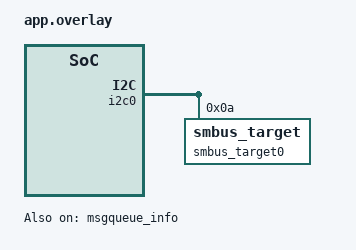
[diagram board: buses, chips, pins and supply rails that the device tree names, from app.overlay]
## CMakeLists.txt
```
# SPDX-License-Identifier: Apache-2.0

cmake_minimum_required(VERSION 3.20.0)
find_package(Zephyr REQUIRED HINTS $ENV{ZEPHYR_BASE})
project(bh_arc)

FILE(GLOB app_sources src/*.c)
target_sources(app PRIVATE ${app_sources})
target_link_libraries(app PRIVATE bh_fwtable)
target_include_directories(app PRIVATE ../../../../include)
target_include_directories(app PRIVATE ../../../../lib/tenstorrent/bh_arc)
target_include_directories(app PRIVATE ../../../../soc/tenstorrent/tt_blackhole/include)

# ───── Paths to inputs and tools ─────────────────────────────────────────
if(DEFINED ZEPHYR_TT_SYSTEM_FIRMWARE_MODULE_DIR)
    set(TTSF_ROOT "${ZEPHYR_TT_SYSTEM_FIRMWARE_MODULE_DIR}")
else()
    set(TTSF_ROOT "${ZEPHYR_BASE}/../tt-system-firmware")
endif()
set(PROTO_DIR     "${TTSF_ROOT}/drivers/misc/bh_fwtable/spirom_protobufs")
set(TXT_DIR       "${TTSF_ROOT}/boards/tenstorrent/tt_blackhole/spirom_data_tables/P150B")
set(ENC_SCRIPT    "${TTSF_ROOT}/scripts/encode_spirom_bins.py")
set(MKFS_SCRIPT   "${TTSF_ROOT}/scripts/tt_boot_fs.py")
set(FLASH_SPEC    "${CMAKE_CURRENT_SOURCE_DIR}/flash_spec.yaml")

set(PROTO_PY_DIR  "${CMAKE_BINARY_DIR}/zephyr/python_proto_files")
set(BIN_DIR       "${CMAKE_BINARY_DIR}/smc/generated_board_cfg/P150B")
set(FLASH_BIN     "${CMAKE_BINARY_DIR}/flash.bin")

# Need protoc on PATH (apt: protobuf-compiler) for the .proto → *_pb2.py step.
find_program(PROTOC_EXE protoc)
if(NOT PROTOC_EXE)
    message(FATAL_ERROR
        "protoc not found. Install with 'sudo apt install protobuf-compiler'. "
        "It is required to generate flash.bin for these tests.")
endif()

if(PROTOC_EXE)
    # ───── Step 1: .proto → *_pb2.py (protoc) ────────────────────────────
    set(PB_PY_FILES
        "${PROTO_PY_DIR}/read_only_pb2.py"
        "${PROTO_PY_DIR}/fw_table_pb2.py"
        "${PROTO_PY_DIR}/flash_info_pb2.py"
    )
    add_custom_command(
        OUTPUT  ${PB_PY_FILES}
        COMMAND ${CMAKE_COMMAND} -E make_directory "${PROTO_PY_DIR}"
        COMMAND ${PROTOC_EXE}
                --experimental_allow_proto3_optional
                --python_out=${PROTO_PY_DIR}
                -I ${PROTO_DIR}
                ${PROTO_DIR}/read_only.proto
                ${PROTO_DIR}/fw_table.proto
                ${PROTO_DIR}/flash_info.proto
        DEPENDS ${PROTO_DIR}/read_only.proto
                ${PROTO_DIR}/fw_table.proto
                ${PROTO_DIR}/flash_info.proto
        COMMENT "Generating Python protobuf modules from .proto schemas"
        VERBATIM
    )

    # ───── Step 2: .txt + *_pb2.py → *.bin (encode_spirom_bins.py) ───────
    set(PB_BIN_FILES
        "${BIN_DIR}/read_only.bin"
        "${BIN_DIR}/fw_table.bin"
        "${BIN_DIR}/flash_info.bin"
    )
    add_custom_command(
        OUTPUT  ${PB_BIN_FILES}
        COMMAND ${CMAKE_COMMAND} -E env PROTOCOL_BUFFERS_PYTHON_IMPLEMENTATION=python
                ${PYTHON_EXECUTABLE} ${ENC_SCRIPT}
                --board P150B
                --build-dir ${CMAKE_BINARY_DIR}
                --output ${CMAKE_BINARY_DIR}/smc/generated_board_cfg
                --bundle-version 0.0.0.0
        DEPENDS ${PB_PY_FILES}
                ${TXT_DIR}/read_only.txt
                ${TXT_DIR}/fw_table.txt
                ${TXT_DIR}/flash_info.txt
        COMMENT "Encoding P150B protobuf .bin payloads"
        VERBATIM
    )

    # ───── Step 3: *.bin + spec → flash.bin (tt_boot_fs.py mkfs) ─────────
    add_custom_command(
        OUTPUT  ${FLASH_BIN}
        COMMAND ${PYTHON_EXECUTABLE} ${MKFS_SCRIPT} mkfs
                --build-dir ${CMAKE_BINARY_DIR}
                ${FLASH_SPEC}
                ${FLASH_BIN}
        DEPENDS ${FLASH_SPEC} ${PB_BIN_FILES}
        COMMENT "Generating ${FLASH_BIN} from ${FLASH_SPEC}"
        VERBATIM
    )

    add_custom_target(generate_flash_bin DEPENDS ${FLASH_BIN})
    add_dependencies(app generate_flash_bin)
endif()
```

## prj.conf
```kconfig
CONFIG_ZTEST=y

CONFIG_TT_BH_ARC=y
CONFIG_TT_BOOT_FS=y
CONFIG_NANOPB=y

CONFIG_EMUL=y
CONFIG_I2C_EMUL=y
CONFIG_I2C_TARGET=y
CONFIG_SMBUS_TARGET=y
CONFIG_I2C=y
CONFIG_CLOCK_CONTROL=y
CONFIG_CLOCK_CONTROL_EMUL=y

CONFIG_RESET=y

CONFIG_SENSOR=y
CONFIG_SENSOR_ASYNC_API=y

CONFIG_WATCHDOG=y
CONFIG_WDT_TT_BH=y

CONFIG_FLASH=y
CONFIG_FLASH_SIMULATOR=y

# Debug configuration
CONFIG_DEBUG=y
CONFIG_DEBUG_OPTIMIZATIONS=y
CONFIG_NO_OPTIMIZATIONS=y
CONFIG_LOG=y
CONFIG_LOG_DEFAULT_LEVEL=4
```

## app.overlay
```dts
/ {
	fwtable: fwtable {
		compatible = "tenstorrent,bh-fwtable";
		status = "okay";
		flash-dev = <&flashcontroller0>;
	};

	pll0: pll0 {
		compatible = "tenstorrent,clock-control-emul";
		status = "okay";
	};

	pll1: pll1 {
		compatible = "tenstorrent,clock-control-emul";
		status = "okay";
	};

	pll4: pll4 {
		compatible = "tenstorrent,clock-control-emul";
		status = "okay";
	};

	dma1: noc_dma {
		status = "okay";
	};

	pvt: pvt {
		compatible = "tenstorrent,bh-pvt-emul";
		num_pd = <16>;
		num_vm = <8>;
		num_ts = <8>;
		pd-raw = <15300>;
		vm-raw = <11795>;
		ts-raw = <1142>;
		status = "okay";
	};

	efuse: efuse {
		compatible = "tenstorrent,bh-efuse-emul";
		status = "okay";
	};

	wdt0: wdt0 {
		compatible = "tenstorrent,bh-watchdog";
		status = "okay";
	};

	msgqueue_info: scratch-reg@8003042c {
		compatible = "tenstorrent,scratch-reg";
		reg = <0x8003042c 0x4>;
		status = "okay";
	};
};

&i2c0 {
	smbus_target0: smbus@0a {
		status = "okay";
		compatible = "zephyr,smbus_target";
		reg = <0x0a>;
	};
};
```

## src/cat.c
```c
/*
 * Copyright (c) 2026 Tenstorrent AI ULC
 *
 * SPDX-License-Identifier: Apache-2.0
 */

#include <stdint.h>

#include <zephyr/ztest.h>
#include <zephyr/sys/util.h>

#include "cat.h"

/* Representative thresholds for exercising the state machine; these are local
 * to the test and independent of any firmware-table values.
 */
#define HOT      95              /* at the sustained threshold */
#define COLD     (HOT - 1)       /* just below the threshold */
#define CRITICAL 110             /* immediate-trip threshold */
#define DUR      (1 * 60 * 1000) /* sustained dwell time, ms */

/* Exercise the monitor with the default thresholds. */
#define MONITOR(now, temp) EvaluateGddrThermTrip((now), (temp), HOT, CRITICAL, DUR)

/* Run one cold pass to clear the monitor's internal tracking between tests */
static void cool(void)
{
	(void)MONITOR(0, COLD);
}

static void before(void *fixture)
{
	ARG_UNUSED(fixture);
	cool();
}

ZTEST(cat, test_all_cold_never_trips)
{
	/* Not hot, so even after a long time nothing trips */
	zassert_equal(MONITOR(DUR + 1000, COLD), 0);
}

ZTEST(cat, test_brief_spike_does_not_trip)
{
	zassert_equal(MONITOR(0, HOT), 0, "should not trip on first hot reading");

	/* Hot, but not yet for the full duration */
	zassert_equal(MONITOR(DUR - 1, HOT), 0, "should not trip prior to duration elapsing");

	/* Cools off before the window completes, must not trip afterward */
	zassert_equal(MONITOR(DUR + 1000, COLD), 0, "cooling off must reset the timer");
}

ZTEST(cat, test_sustained_over_temp_trips)
{
	zassert_equal(MONITOR(0, HOT), 0);

	/* One millisecond short of the duration, still no trip */
	zassert_equal(MONITOR(DUR - 1, HOT), 0);

	/* Exactly at the duration boundary (>=), trip returning the max temp */
	zassert_equal(MONITOR(DUR, HOT), HOT, "sustained over-temp must trip");
}

ZTEST(cat, test_critical_temp_trips_immediately)
{
	/* At or above the critical temperature there is no dwell requirement */
	zassert_equal(MONITOR(0, CRITICAL), CRITICAL, "critical temp must trip immediately");
}

ZTEST(cat, test_zero_thresholds_never_trip)
{
	/* Unset (0) thresholds disable their trip path, even at a scorching temp. */
	zassert_equal(EvaluateGddrThermTrip(0, 200, 0, 0, DUR), 0,
		      "zero thresholds must not trip on the first reading");
	zassert_equal(EvaluateGddrThermTrip(DUR + 1000, 200, 0, 0, DUR), 0,
		      "zero thresholds must not trip after the dwell time either");
}

ZTEST_SUITE(cat, NULL, NULL, before, NULL, NULL);
```

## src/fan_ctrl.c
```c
/*
 * Copyright (c) 2025 Tenstorrent AI ULC
 *
 * SPDX-License-Identifier: Apache-2.0
 */

#include <math.h>

#include <zephyr/ztest.h>

extern uint32_t fan_curve(float max_asic_temp, float max_gddr_temp);

ZTEST(fan_ctrl, test_fan_curve_asic_temp)
{
	/* Sweep the ASIC temperature while holding GDDR temp low */
	zassert_equal(fan_curve(25, 25), 20);
	zassert_equal(fan_curve(30, 25), 20);
	zassert_equal(fan_curve(35, 25), 20);
	zassert_equal(fan_curve(40, 25), 20);
	zassert_equal(fan_curve(45, 25), 20);
	zassert_equal(fan_curve(50, 25), 20);
	zassert_equal(fan_curve(55, 25), 20);
	zassert_equal(fan_curve(60, 25), 20);
	zassert_equal(fan_curve(65, 25), 24);
	zassert_equal(fan_curve(70, 25), 28);
	zassert_equal(fan_curve(75, 25), 40);
	zassert_equal(fan_curve(80, 25), 60);
	zassert_equal(fan_curve(85, 25), 80);
	zassert_equal(fan_curve(90, 25), 100);
	zassert_equal(fan_curve(95, 25), 100);
}

ZTEST(fan_ctrl, test_fan_curve_gddr_temp)
{
	/* Sweep the GDDR temperature upward while holding ASIC temp low */
	/* A monotonically rising GDDR temp is tracked immediately by the hysteresis logic */
	zassert_equal(fan_curve(25, 25), 20);
	zassert_equal(fan_curve(25, 30), 20);
	zassert_equal(fan_curve(25, 35), 20);
	zassert_equal(fan_curve(25, 40), 20);
	zassert_equal(fan_curve(25, 45), 20);
	zassert_equal(fan_curve(25, 50), 25);
	zassert_equal(fan_curve(25, 55), 30);
	zassert_equal(fan_curve(25, 60), 34);
	zassert_equal(fan_curve(25, 65), 49);
	zassert_equal(fan_curve(25, 70), 64);
	zassert_equal(fan_curve(25, 75), 79);
	zassert_equal(fan_curve(25, 80), 94);
	zassert_equal(fan_curve(25, 85), 100);
	zassert_equal(fan_curve(25, 90), 100);
	zassert_equal(fan_curve(25, 95), 100);
}

ZTEST(fan_ctrl, test_fan_curve_gddr_hysteresis)
{
	/* Prime the effective temp to a known peak */
	(void)fan_curve(25, -50);
	zassert_equal(fan_curve(25, 90), 100);

	/* Drop to 70 (>= 5 below the prior peak) -> effective tracks down to 70 */
	zassert_equal(fan_curve(25, 70), 64);
	/* Small drops (< 5 from 70): fan speed stays put */
	zassert_equal(fan_curve(25, 67), 64);
	zassert_equal(fan_curve(25, 66), 64);
	/* A cumulative 5-degree drop (to 65) finally lowers the effective temp */
	zassert_equal(fan_curve(25, 65), 49);
	/* A rise is followed immediately */
	zassert_equal(fan_curve(25, 80), 94);
}

ZTEST(fan_ctrl, test_fan_curve_bounds)
{
	/* Test boundary conditions */
	static const float temps[] = {
		-INFINITY, /* negative-most condition */
		-35,       /* darn cold */
		-1,        /* on the boundary */
		0,         /* inflection point */
		1,         /* on the boundary */
		23,        /* ~room temp */
		50,        /* pretty warm */
		100,       /* hot! */
		300,       /* on fire */
		INFINITY,  /* positive-most condition */
	};

	for (size_t i = 0; i < ARRAY_SIZE(temps); ++i) {
		for (size_t j = 0; j < ARRAY_SIZE(temps); ++j) {
			uint32_t pct = fan_curve(temps[i], temps[j]);

			zassert_true(pct >= 0, "unexpected pct %u for fan_curve(%f, %f)", pct,
				     (double)temps[i], (double)temps[j]);
			zassert_true(pct <= 100, "unexpected pct %u for fan_curve(%f, %f)", pct,
				     (double)temps[i], (double)temps[j]);
		}
	}
}

ZTEST_SUITE(fan_ctrl, NULL, NULL, NULL, NULL, NULL);
```

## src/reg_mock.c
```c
/*
 * Copyright (c) 2025 Tenstorrent AI ULC
 *
 * SPDX-License-Identifier: Apache-2.0
 */
#include "reg_mock.h"
#include <zephyr/ztest.h>

DEFINE_FFF_GLOBALS;

DEFINE_FAKE_VALUE_FUNC(uint32_t, ReadReg, uint32_t /*addr*/);
DEFINE_FAKE_VOID_FUNC(WriteReg, uint32_t /*addr*/, uint32_t /*val*/);

static void reset_reg(const struct ztest_unit_test *test, void *data)
{
	(void)test;
	(void)data;
	RESET_FAKE(ReadReg);
	RESET_FAKE(WriteReg);
}

ZTEST_RULE(reset_reg_rule, NULL, reset_reg);
```

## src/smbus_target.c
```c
/*
 * Copyright (c) 2025 Tenstorrent AI ULC
 *
 * SPDX-License-Identifier: Apache-2.0
 */

#include <zephyr/ztest.h>
#include <zephyr/drivers/i2c.h>
#include <zephyr/fff.h>
#include <tenstorrent/bh_arc.h>
#include <tenstorrent/qsfp_mgmt.h>
#include <tenstorrent/smbus_target.h>
#include <tenstorrent/tt_smbus_regs.h>
#include "reg_mock.h"
#include "asic_state.h"
#include "telemetry.h"
#include "status_reg.h"
#include "cm2dm_msg.h"

static const struct device *const i2c0_dev = DEVICE_DT_GET_OR_NULL(DT_NODELABEL(i2c0));
static const struct device *const smbus_target_dev =
	DEVICE_DT_GET_OR_NULL(DT_NODELABEL(smbus_target0));
static const uint8_t tt_i2c_addr = 0xA;

static uint32_t get_smbus_error_count(void)
{
	return smbus_target_get_error_count(smbus_target_dev);
}

ZTEST(smbus_target, test_qsfp_mgmt_response_validation)
{
	struct qsfp_mgmt_response response = {
		.token = 0x5a,
		.operation = QSFP_MGMT_OP_STATUS,
		.cage = 0,
		.status = QSFP_MGMT_OK,
	};
	uint8_t page_arg = QSFP_MGMT_PAGE_ARG(QSFP_MGMT_PAGE_11, 6);
	uint32_t request = QSFP_MGMT_REQUEST(QSFP_MGMT_OP_READ_PAGE, 3, page_arg, 0xa5);

	zassert_equal(sizeof(response), 28);
	zassert_equal(sizeof(dmStaticInfo), 24);
	zassert_equal(sizeof(struct qsfp_status_payload), 5);
	zassert_equal(QSFP_MGMT_REQUEST_OP(request), QSFP_MGMT_OP_READ_PAGE);
	zassert_equal(QSFP_MGMT_REQUEST_CAGE(request), 3);
	zassert_equal(QSFP_MGMT_PAGE_ARG_INDEX(QSFP_MGMT_REQUEST_ARG(request)), QSFP_MGMT_PAGE_11);
	zassert_equal(QSFP_MGMT_PAGE_ARG_BLOCK(QSFP_MGMT_REQUEST_ARG(request)), 6);
	zassert_equal(QSFP_MGMT_REQUEST_TOKEN(request), 0xa5);
	zassert_equal(QSFP_TELEM_CAGE(0x80187271U, 0), QSFP_TELEM_NO_MODULE);
	zassert_equal(QSFP_TELEM_CAGE(0x80187271U, 1), QSFP_TELEM_CMIS_READ_FAILED);
	zassert_equal(QSFP_TELEM_CAGE(0x80187271U, 2), 0x18);
	zassert_false(QSFP_TELEM_IS_CODE(QSFP_TELEM_CAGE(0x80187271U, 3)));
	zassert_true(QSFP_TELEM_IS_CODE(QSFP_TELEM_NOT_REPORTED));
	zassert_equal(Dm2CmQsfpMgmtResponseHandler((uint8_t *)&response, sizeof(response) - 1), -1);
	response.length = QSFP_MGMT_PAYLOAD_SIZE + 1;
	zassert_equal(Dm2CmQsfpMgmtResponseHandler((uint8_t *)&response, sizeof(response)), -1);
	response.length = 0;
	/* An unsolicited/stale token is ignored rather than waking a waiter. */
	zassert_equal(Dm2CmQsfpMgmtResponseHandler((uint8_t *)&response, sizeof(response)), 0);
}

ZTEST(smbus_target, test_qsfp_status_size)
{
	uint32_t status = 0x03020100U;

	zassert_equal(Dm2CmQsfpStatusHandler((uint8_t *)&status, sizeof(status) - 1), -1);
	zassert_equal(Dm2CmQsfpStatusHandler((uint8_t *)&status, sizeof(status)), 0);
}

static void tear_down_tc(void *fixture)
{
	(void)fixture;

	/*Whiteboxing this isn't great */
	struct i2c_target_config *smbus_target_cfg =
		(struct i2c_target_config *)smbus_target_dev->data;

	smbus_target_cfg->callbacks->stop(smbus_target_cfg);
}

ZTEST(smbus_target, test_write_received_bad_cmd_0)
{
	/* 0 is not a valid command */
	uint8_t write_data[] = {0U};
	uint32_t err_count_before = get_smbus_error_count();

	zassert_equal(-1, i2c_write(i2c0_dev, write_data, sizeof(write_data), tt_i2c_addr));
	zassert_equal(err_count_before + 1, get_smbus_error_count());
}

ZTEST(smbus_target, test_write_received_bad_cmd_255)
{
	/* 255 is not a valid command */
	uint8_t write_data[] = {255U};
	uint32_t err_count_before = get_smbus_error_count();

	zassert_equal(-1, i2c_write(i2c0_dev, write_data, sizeof(write_data), tt_i2c_addr));
	zassert_equal(err_count_before + 1, get_smbus_error_count());
}

ZTEST(smbus_target, test_write_received_bad_cmd_msg_max)
{
	uint8_t write_data[] = {CMFW_SMBUS_MSG_MAX};
	uint32_t err_count_before = get_smbus_error_count();

	/* 255 is not a valid command */
	zassert_equal(-1, i2c_write(i2c0_dev, write_data, sizeof(write_data), tt_i2c_addr));
	zassert_equal(err_count_before + 1, get_smbus_error_count());
}

ZTEST(smbus_target, test_write_received_cmd_before_stop)
{
	uint8_t write_data[] = {0, CMFW_SMBUS_MSG_MAX};
	uint32_t err_count_before = get_smbus_error_count();

	/* starting a valid command before stopping the invalid command should fail */
	zassert_equal(-1, i2c_write(i2c0_dev, write_data, sizeof(write_data), tt_i2c_addr));
	zassert_equal(err_count_before + 1, get_smbus_error_count());
}

ZTEST(smbus_target, test_unsolicited_read_received)
{
	uint8_t read_data[1];
	uint32_t err_count_before = get_smbus_error_count();

	/* We always need to get a command to process first. */
	zassert_equal(-1, i2c_read(i2c0_dev, read_data, sizeof(read_data), tt_i2c_addr));
	zexpect_equal(0xFF, read_data[0]);
	zassert_equal(err_count_before + 1, get_smbus_error_count());
}

ZTEST(smbus_target, test_write_received_bad_blocksize)
{
	uint8_t write_data[] = {CMFW_SMBUS_TEST_WRITE_BLOCK, 5U, 0xAA, 0xBB, 0xCC, 0xDD, 0xEE, 54U};
	uint32_t err_count_before = get_smbus_error_count();

	/* WRITE_BLOCK is a valid command */
	zassert_equal(-1, i2c_write(i2c0_dev, write_data, sizeof(write_data), tt_i2c_addr));
	zassert_equal(err_count_before + 1, get_smbus_error_count());
}

ZTEST(smbus_target, test_write_received_data_for_read_cmd)
{
	/* TEST_READ is a valid command but expects the user to write no additional data */
	uint8_t write_data[] = {CMFW_SMBUS_TEST_READ, 10U};
	uint32_t err_count_before = get_smbus_error_count();

	zassert_equal(-1, i2c_write(i2c0_dev, write_data, sizeof(write_data), tt_i2c_addr));
	zassert_equal(err_count_before + 1, get_smbus_error_count());
}

ZTEST(smbus_target, test_write_rx_rqst_for_write_cmd)
{
	uint8_t write_data[] = {CMFW_SMBUS_TEST_WRITE_BLOCK, 4U};
	uint8_t read_data[1];
	uint32_t err_count_before = get_smbus_error_count();
	/* TEST_WRITE_BLOCK is a valid command but expects data to be written, not read */
	zassert_equal(-1, i2c_write_read(i2c0_dev, tt_i2c_addr, write_data, sizeof(write_data),
					 read_data, sizeof(read_data)));
	zexpect_equal(0xFF, read_data[0]);
	zassert_equal(err_count_before + 1, get_smbus_error_count());
}

ZTEST(smbus_target, test_read_byte_test)
{
	uint8_t write_data[] = {CMFW_SMBUS_TEST_READ};
	uint8_t read_data[2];
	uint32_t err_count_before = get_smbus_error_count();

	ReadReg_fake.return_val = 0x5AU;
	/* The value received by var should match what the fake stored */
	zassert_equal(0, i2c_write_read(i2c0_dev, tt_i2c_addr, write_data, sizeof(write_data),
					read_data, sizeof(read_data)));
	zexpect_equal(0x5AU, read_data[0]);
	/* Success - error counter should not change */
	zassert_equal(err_count_before, get_smbus_error_count());
}

ZTEST(smbus_target, test_read_word_test)
{
	uint8_t write_data[] = {CMFW_SMBUS_TEST_READ_WORD};
	uint8_t read_data[3];
	uint32_t err_count_before = get_smbus_error_count();

	ReadReg_fake.return_val = 0x915AU;

	/* The value received by var should match what the fake stored */
	zassert_equal(0, i2c_write_read(i2c0_dev, tt_i2c_addr, write_data, sizeof(write_data),
					read_data, sizeof(read_data)));
	zexpect_equal(0x5AU, read_data[0]);
	zexpect_equal(0x91U, read_data[1]);
	/* Success - error counter should not change */
	zassert_equal(err_count_before, get_smbus_error_count());
}

ZTEST(smbus_target, test_read_block_test)
{
	uint8_t write_data[] = {CMFW_SMBUS_TEST_READ_BLOCK};
	uint8_t read_data[6];
	uint32_t err_count_before = get_smbus_error_count();

	ReadReg_fake.return_val = 0x8765915AU;
	/* The value received by var should match what the fake stored */
	zassert_equal(0, i2c_write_read(i2c0_dev, tt_i2c_addr, write_data, sizeof(write_data),
					read_data, sizeof(read_data)));
	zexpect_equal(4U, read_data[0]);
	zexpect_equal(0x5AU, read_data[1]);
	zexpect_equal(0x91U, read_data[2]);
	zexpect_equal(0x65U, read_data[3]);
	zexpect_equal(0x87U, read_data[4]);
	/* Success - error counter should not change */
	zassert_equal(err_count_before, get_smbus_error_count());
}

ZTEST(smbus_target, test_write_byte_test)
{
	uint8_t write_data[] = {CMFW_SMBUS_TEST_WRITE, 0x5BU, 136U};
	uint8_t set_count = 0U;
	uint32_t err_count_before = get_smbus_error_count();

	zassert_equal(0, i2c_write(i2c0_dev, write_data, sizeof(write_data), tt_i2c_addr));
	for (uint8_t i = 0U; i < WriteReg_fake.call_count; i++) {
		if (WriteReg_fake.arg0_history[i] == STATUS_FW_SCRATCH_REG_ADDR) {
			zassert_equal(WriteReg_fake.arg1_history[i], (1 << 16U) | 0x5BU);
			set_count++;
		}
	}
	zexpect_equal(1U, set_count);
	/* Success - error counter should not change */
	zassert_equal(err_count_before, get_smbus_error_count());
}

ZTEST(smbus_target, test_write_word_test)
{
	uint8_t write_data[] = {CMFW_SMBUS_TEST_WRITE_WORD, 0x5BU, 0x2AU, 177U};
	uint8_t set_count = 0U;
	uint32_t err_count_before = get_smbus_error_count();

	zassert_equal(0, i2c_write(i2c0_dev, write_data, sizeof(write_data), tt_i2c_addr));

	for (uint8_t i = 0U; i < WriteReg_fake.call_count; i++) {
		if (WriteReg_fake.arg0_history[i] == STATUS_FW_SCRATCH_REG_ADDR) {
			zexpect_equal(WriteReg_fake.arg1_history[i], (2 << 16U) | 0x2A5BU);
			set_count++;
		}
	}
	zexpect_equal(1U, set_count);
	/* Success - error counter should not change */
	zassert_equal(err_count_before, get_smbus_error_count());
}

ZTEST(smbus_target, test_write_block_test)
{
	uint8_t write_data[] = {CMFW_SMBUS_TEST_WRITE_BLOCK, 0x4, 0x5BU, 0x2AU, 0x13U, 0x99U, 243U};
	uint8_t set_count = 0U;
	uint32_t err_count_before = get_smbus_error_count();

	zassert_equal(0, i2c_write(i2c0_dev, write_data, sizeof(write_data), tt_i2c_addr));

	for (uint8_t i = 0U; i < WriteReg_fake.call_count; i++) {
		if (WriteReg_fake.arg0_history[i] == STATUS_FW_SCRATCH_REG_ADDR) {
			zexpect_equal(WriteReg_fake.arg1_history[i], 0x99132A5BU);
			set_count++;
		}
	}
	zexpect_equal(1U, set_count);
	/* Success - error counter should not change */
	zassert_equal(err_count_before, get_smbus_error_count());
}

ZTEST(smbus_target, test_update_arc_test_state_3)
{
	uint8_t write_data[] = {CMFW_SMBUS_UPDATE_ARC_STATE, 0x3, 0x3U, 0xDEU, 0xAFU};
	uint32_t err_count_before = get_smbus_error_count();

	zassert_equal(0, i2c_write(i2c0_dev, write_data, sizeof(write_data), tt_i2c_addr));
	zassert_equal(A3State, get_asic_state());
	/* Success - error counter should not change */
	zassert_equal(err_count_before, get_smbus_error_count());
}

ZTEST(smbus_target, test_update_arc_test_state_0)
{
	uint8_t write_data[] = {CMFW_SMBUS_UPDATE_ARC_STATE, 0x3, 0x0U, 0xDEU, 0xAFU};
	uint32_t err_count_before = get_smbus_error_count();

	zassert_equal(0, i2c_write(i2c0_dev, write_data, sizeof(write_data), tt_i2c_addr));
	zassert_equal(A0State, get_asic_state());
	/* Success - error counter should not change */
	zassert_equal(err_count_before, get_smbus_error_count());
}

ZTEST(smbus_target, test_telem_read_bad_w_blocksize)
{
	uint8_t write_data[] = {CMFW_SMBUS_TELEMETRY_READ, 0x3, 0xAA, 0xBB, 0xCC};
	uint32_t err_count_before = get_smbus_error_count();

	zassert_equal(-1, i2c_write(i2c0_dev, write_data, sizeof(write_data), tt_i2c_addr));
	zassert_equal(err_count_before + 1, get_smbus_error_count());
}

ZTEST(smbus_target, test_telem_read)
{
	uint8_t write_data[] = {CMFW_SMBUS_TELEMETRY_READ, 0x1U, TAG_AICLK};
	uint8_t read_data[8];
	uint32_t err_count_before = get_smbus_error_count();

	zassert_equal(0, i2c_write_read(i2c0_dev, tt_i2c_addr, write_data, sizeof(write_data),
					read_data, sizeof(read_data)));
	zexpect_equal(7U, read_data[0]);
	zexpect_equal(0U, read_data[1]);
	/* bytes 2-3 are DC. Bytes 4-7 are telem data but currently aren't emulated */
	/* Success - error counter should not change */
	zassert_equal(err_count_before, get_smbus_error_count());
}

ZTEST(smbus_target, test_telem_write_no_reset)
{
	uint8_t write_data[35] = {[0] = CMFW_SMBUS_TELEMETRY_WRITE, [1] = 33U};
	uint8_t read_data[21];
	uint32_t err_count_before = get_smbus_error_count();

	zassert_equal(0, i2c_write_read(i2c0_dev, tt_i2c_addr, write_data, sizeof(write_data),
					read_data, sizeof(read_data)));
	zexpect_equal(20U, read_data[0]);

	uint32_t ctl = 0;

	(void)memcpy(&ctl, &read_data[12], sizeof(ctl));
	zexpect_equal(0U, ctl);
	/* Success - error counter should not change */
	zassert_equal(err_count_before, get_smbus_error_count());
}

ZTEST(smbus_target, test_block_write_block_read_with_pec)
{
	uint8_t write_data[] = {0xDE, 4, 0xde, 0xad, 0xbe, 0xef};
	uint8_t read_data[6];
	uint32_t err_count_before = get_smbus_error_count();

	zassert_equal(0, i2c_write_read(i2c0_dev, tt_i2c_addr, write_data, sizeof(write_data),
					read_data, sizeof(read_data)));
	zexpect_equal(4, read_data[0]);
	/* Success - error counter should not change */
	zassert_equal(err_count_before, get_smbus_error_count());
}

ZTEST_SUITE(smbus_target, NULL, NULL, NULL, tear_down_tc, NULL);
```
